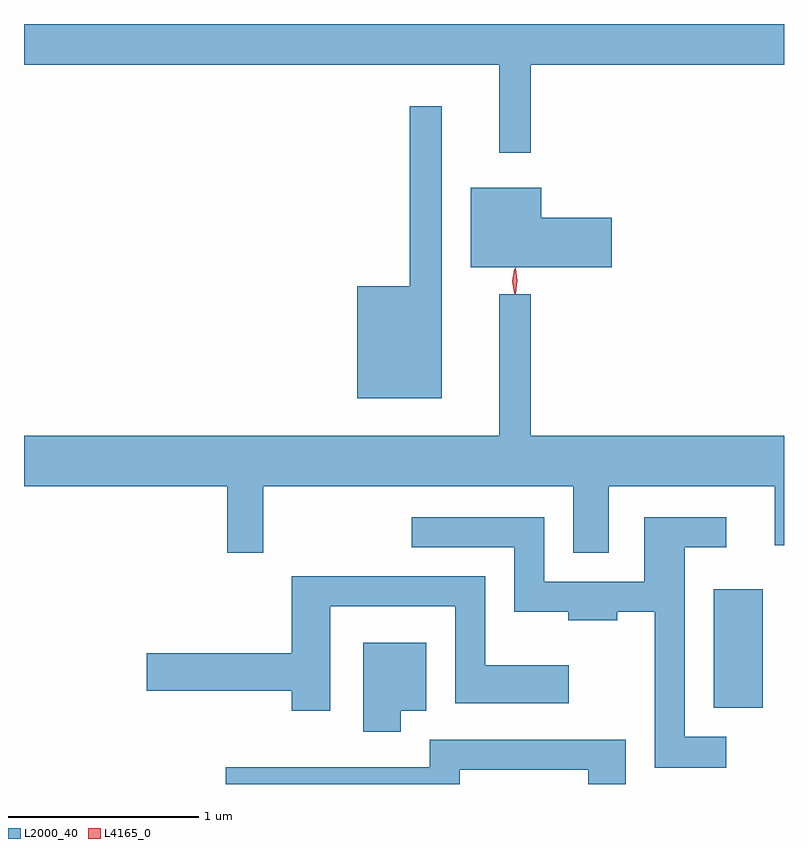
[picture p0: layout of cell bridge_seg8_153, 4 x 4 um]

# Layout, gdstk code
import gdstk
lib = gdstk.Library(unit=1e-6, precision=1e-09)
def R(c, l, rs):  # rectangles x0, y0, x1, y1
    for r in rs: c.add(gdstk.rectangle(r[:2], r[2:], *l))
def P(c, l, *ps):  # polygons
    for p in ps: c.add(gdstk.Polygon(p, *l))
L2000_40 = (2000, 40)
L4165_0 = (4165, 0)

bridge_seg8_153 = lib.new_cell('bridge_seg8_153')
R(bridge_seg8_153, L2000_40, [(1427.041,1899.631,1427.299,1900.254)])
P(bridge_seg8_153, L2000_40, [(1426.079,1903.016),(1427.411,1903.016),(1427.411,1903.23),(1423.411,1903.23),(1423.411,1903.016),(1425.911,1903.016),(1425.911,1902.553),(1426.079,1902.553)],
  [(1425.609,1902.798),(1425.441,1902.798),(1425.441,1901.849),(1425.166,1901.849),(1425.166,1901.261),(1425.609,1901.261)],
  [(1426.504,1902.209),(1426.134,1902.209),(1426.134,1902.369),(1425.761,1902.369),(1425.761,1901.951),(1426.504,1901.951)],
  [(1424.669,1900.796),(1426.301,1900.796),(1426.301,1900.446),(1426.489,1900.446),(1426.489,1900.796),(1427.361,1900.796),(1427.361,1900.486),(1427.411,1900.486),(1427.411,1901.064),(1426.079,1901.064),(1426.079,1901.808),(1425.911,1901.808),(1425.911,1901.064),(1423.411,1901.064),(1423.411,1900.796),(1424.481,1900.796),(1424.481,1900.446),(1424.669,1900.446)],
  [(1427.108,1899.479),(1426.889,1899.479),(1426.889,1900.476),(1427.108,1900.476),(1427.108,1900.634),(1426.676,1900.634),(1426.676,1900.294),(1426.149,1900.294),(1426.149,1900.634),(1425.453,1900.634),(1425.453,1900.476),(1425.991,1900.476),(1425.991,1900.136),(1426.276,1900.136),(1426.276,1900.091),(1426.534,1900.091),(1426.534,1900.136),(1426.731,1900.136),(1426.731,1899.316),(1427.108,1899.316)],
  [(1425.024,1900.166),(1425.681,1900.166),(1425.681,1899.656),(1426.279,1899.656),(1426.279,1899.854),(1425.839,1899.854),(1425.839,1900.324),(1424.821,1900.324),(1424.821,1899.919),(1424.056,1899.919),(1424.056,1899.721),(1424.821,1899.721),(1424.821,1899.616),(1425.024,1899.616)],
  [(1425.394,1899.616),(1425.529,1899.616),(1425.529,1899.974),(1425.196,1899.974),(1425.196,1899.506),(1425.394,1899.506)],
  [(1425.704,1899.306),(1426.381,1899.306),(1426.381,1899.23),(1426.579,1899.23),(1426.579,1899.464),(1425.546,1899.464),(1425.546,1899.319),(1424.473,1899.319),(1424.473,1899.23),(1425.704,1899.23)])
P(bridge_seg8_153, L4165_0, [(1425.997,1901.81),(1425.988,1901.878),(1425.997,1901.945),(1425.998,1901.946),(1425.998,1901.945),(1426.008,1901.878),(1425.998,1901.81),(1425.998,1901.81)],
  [(1425.992,1901.813),(1425.982,1901.876),(1425.992,1901.939),(1425.992,1901.94),(1425.993,1901.939),(1426.002,1901.876),(1425.993,1901.813),(1425.993,1901.813)])

lib.write_gds('bridge_seg8_153.gds')
